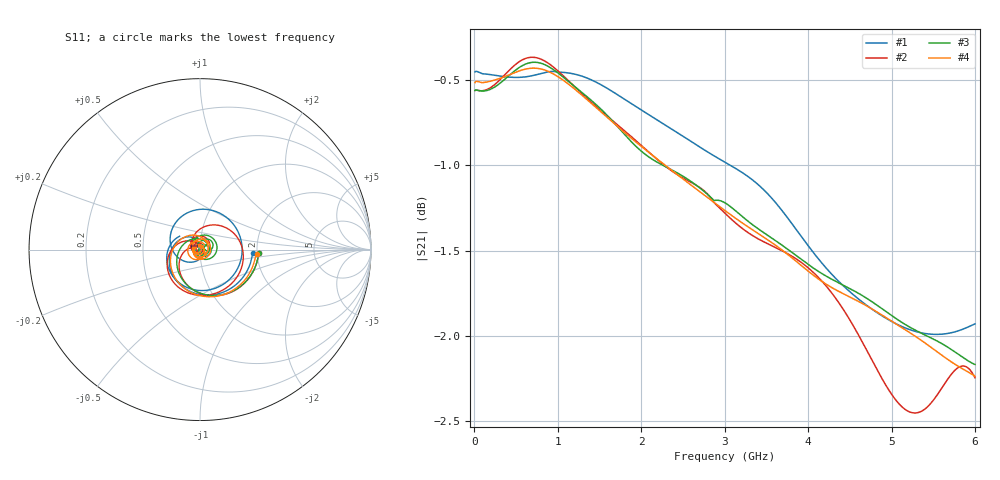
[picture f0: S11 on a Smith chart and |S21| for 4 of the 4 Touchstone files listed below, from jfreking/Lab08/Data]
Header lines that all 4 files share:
! Touchstone file from project TaperedLine_and_RadialStub
! Exported from HFSS 2018.0.0
! Variables:
!Data is not renormalized
# GHZ S MA
! Modal data exported
! Port[1] = 1:1
! Port[2] = 2:1
Fixed: $h = 62mil, $t = 0.7mil, h = 62mil, lam = 65.346mm, t = 0.7mil, w = 2.99067mm
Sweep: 10 MHz to 6 GHz
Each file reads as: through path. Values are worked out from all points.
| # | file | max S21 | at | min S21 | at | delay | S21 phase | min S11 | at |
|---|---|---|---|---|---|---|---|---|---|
| 1 | BinomialTransformerHFSS.s2p | -0.45 dB | 20 MHz | -2.0 dB | 5.54 GHz | 504 ps | 179 deg at 3.01 GHz | -59.3 dB | 2.3 GHz |
| 2 | ChebyTransformerHFSS.s2p | -0.37 dB | 700 MHz | -2.5 dB | 5.28 GHz | 605 ps | 71 deg at 3.01 GHz | -39.6 dB | 1.7 GHz |
| 3 | ExpTaperHFSS.s2p | -0.40 dB | 720 MHz | -2.2 dB | 6 GHz | 600 ps | 77 deg at 3.01 GHz | -42.3 dB | 4.76 GHz |
| 4 | LinTaperHFSS.s2p | -0.43 dB | 710 MHz | -2.2 dB | 6 GHz | 606 ps | 70 deg at 3.01 GHz | -42.1 dB | 3.44 GHz |
